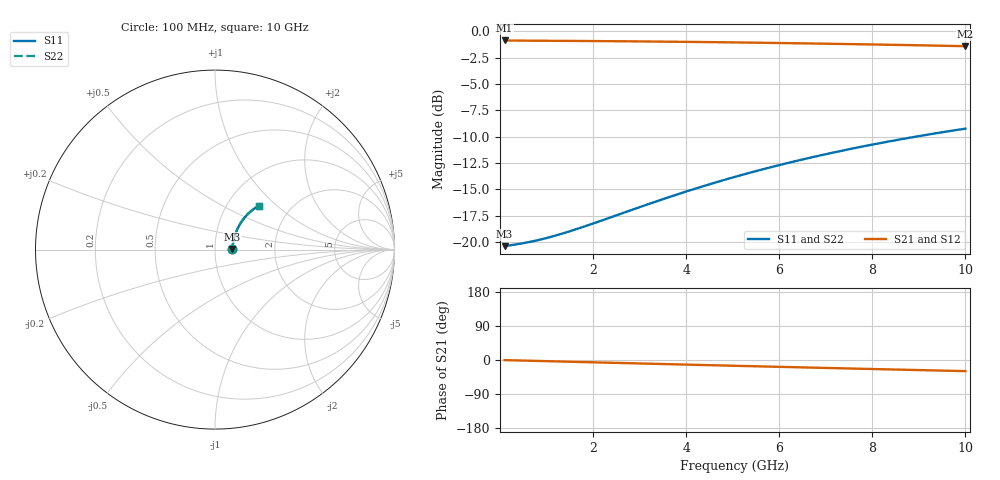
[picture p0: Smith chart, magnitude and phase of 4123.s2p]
# Hz S RI R 50.00
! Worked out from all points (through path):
!   100 points, 100 MHz to 10 GHz, reference 50 ohm
!   highest |S21| = -0.87 dB at 100 MHz (marker M1); lowest = -1.4 dB at 10 GHz (marker M2)
!   group delay of S21, straight-line fit = 8.17 ps
!   lowest |S11| = -20.4 dB at 100 MHz (marker M3), VSWR 1.21, Z = 60.6 + j0.382 ohm
!   |S11| at or under -10 dB: start of sweep to 8.93 GHz
!   |S22| runs from -20.4 to -9.2 dB; largest |S21 - S12| = 0
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1e8  0.0957 0.00313  0.9043 -0.00483  0.9043 -0.00483  0.0957 0.00313
5e8  0.0977 0.0156  0.9023 -0.0241  0.9023 -0.0241  0.0977 0.0156
7e8  0.0986 0.0217  0.9014 -0.0337  0.9014 -0.0337  0.0986 0.0217
9e8  0.0995 0.0279  0.9004 -0.0433  0.9004 -0.0433  0.0995 0.0279
1.1e9  0.1005 0.034  0.8993 -0.0528  0.8993 -0.0528  0.1005 0.034
1.3e9  0.1015 0.0401  0.8982 -0.0623  0.8982 -0.0623  0.1015 0.0401
1.8e9  0.1047 0.0553  0.8948 -0.086  0.8948 -0.086  0.1047 0.0553
2.6e9  0.1112 0.079  0.8878 -0.1235  0.8878 -0.1235  0.1112 0.079
3.4e9  0.1195 0.1021  0.8787 -0.1602  0.8787 -0.1602  0.1195 0.1021
3.9e9  0.1256 0.116  0.8721 -0.1827  0.8721 -0.1827  0.1256 0.116
4.3e9  0.1309 0.1268  0.8662 -0.2004  0.8662 -0.2004  0.1309 0.1268
4.7e9  0.1367 0.1374  0.8599 -0.2178  0.8599 -0.2178  0.1367 0.1374
5.1e9  0.1429 0.1477  0.8531 -0.235  0.8531 -0.235  0.1429 0.1477
5.5e9  0.1494 0.1577  0.8459 -0.2518  0.8459 -0.2518  0.1494 0.1577
5.9e9  0.1564 0.1673  0.8382 -0.2683  0.8382 -0.2683  0.1564 0.1673
6.3e9  0.1637 0.1766  0.8302 -0.2845  0.8302 -0.2845  0.1637 0.1766
6.7e9  0.1713 0.1855  0.8218 -0.3003  0.8218 -0.3003  0.1713 0.1855
7.5e9  0.1874 0.2023  0.8038 -0.3309  0.8038 -0.3309  0.1874 0.2023
7.9e9  0.1959 0.2101  0.7944 -0.3456  0.7944 -0.3456  0.1959 0.2101
8.4e9  0.2068 0.2193  0.7822 -0.3634  0.7822 -0.3634  0.2068 0.2193
9.2e9  0.225 0.2327  0.7618 -0.3907  0.7618 -0.3907  0.225 0.2327
1e10  0.244 0.2444  0.7404 -0.4164  0.7404 -0.4164  0.244 0.2444
